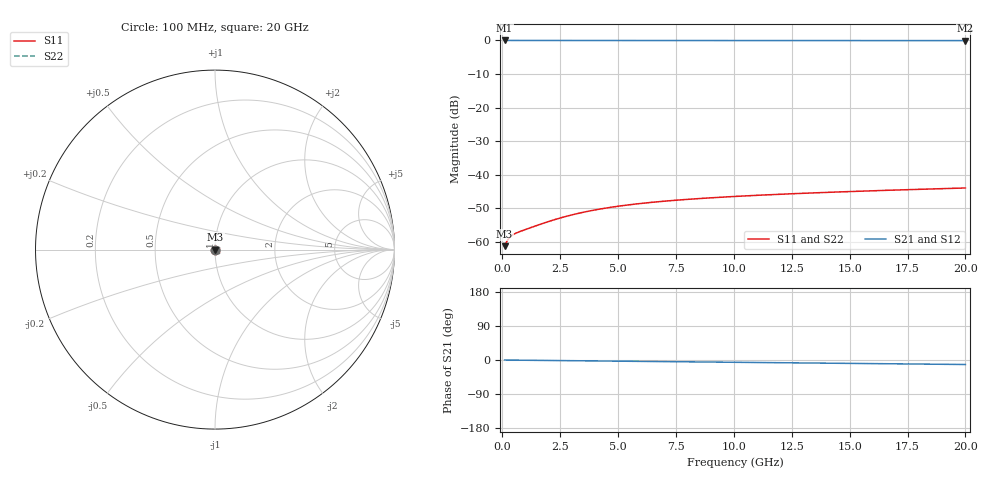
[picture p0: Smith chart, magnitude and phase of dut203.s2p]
! Touchstone file exported from HFSS 2026.1.0
!  File:  C:/ffzhzh/LocalFiles/Ansys_Project_Files/temp_train_BSMRDL_203_1782987762_45328.aedt
!  Generated:  06:23:50 PM Jul  2, 2026
!  Design:  BSMRDL
!  Project:  temp_train_BSMRDL_203_1782987762_45328
! Variables:
!  h_bsmrdl = 4.81um
!  h_ox = 20um
!  h_rdl = 5um
!  h_sub = 80um
!  h_tmrdl = 5um
!  h_tsv = 80um
!  h_via = 3um
!  l_bsmrdl = 202.3um
!  l_sub = 602.3um
!  l_tmrdl = 200um
!  m_sub = 200um
!  pitch = 28.9um
!  r_tsv = 6um
!  s_tmrdl = 10um
!  w_bsmrdl = 24um
!  w_sub = 500um
!  w_tmrdl = 12um
!  x_tsv_center1 = 206um
!  x_tsv_center2 = 432.3um
!  x_tsv_center3 = 644.3um
!  x_tsv_center4 = 870.6um
!  x_tsv_center5 = 1082.6um
!  x_tsv_center6 = 1308.9um
# GHz S MA R 50.000000
! Terminal data exported
! Port[1] = BSM_RDL1_1_T1
! Port[2] = BSM_RDL1_1_T2
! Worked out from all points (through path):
!   200 points, 100 MHz to 20 GHz, reference 50 ohm
!   highest |S21| = -0.01 dB at 100 MHz (marker M1); lowest = -0.1 dB at 20 GHz (marker M2)
!   group delay of S21, straight-line fit = 1.64 ps
!   lowest |S11| = -61.3 dB at 100 MHz (marker M3), VSWR 1.00, Z = 50.1 + j0.0228 ohm
!   |S11| at or under -10 dB: start of sweep to end of sweep
!   |S22| runs from -61.3 to -43.9 dB; largest |S21 - S12| = 3.1e-15
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0.1  0.0008605 15.4  0.9992 -0.1  0.9992 -0.1  0.0008605 15.4
! Gamma 0 0 0 0
! Port Impedance 50 0 50 0
0.2  0.001021 21.0  0.999 -0.1  0.999 -0.1  0.001021 21.0
0.3  0.001147 22.4  0.9989 -0.2  0.9989 -0.2  0.001147 22.4
0.4  0.001234 22.8  0.9989 -0.3  0.9989 -0.3  0.001234 22.8
0.5  0.001297 23.4  0.9988 -0.3  0.9988 -0.3  0.001297 23.4
0.6  0.001349 24.1  0.9988 -0.4  0.9988 -0.4  0.001349 24.1
0.8  0.001438 25.9  0.9987 -0.5  0.9987 -0.5  0.001438 25.9
1.4  0.001706 31.7  0.9986 -0.9  0.9986 -0.9  0.001706 31.7
1.8  0.001903 34.3  0.9984 -1.1  0.9984 -1.1  0.001903 34.3
2.2  0.002108 35.9  0.9983 -1.4  0.9983 -1.4  0.002108 35.9
2.8  0.002415 36.7  0.9981 -1.7  0.9981 -1.7  0.002415 36.7
3.5  0.002755 36.3  0.9978 -2.2  0.9978 -2.2  0.002756 36.3
4.2  0.003067 35.1  0.9976 -2.6  0.9976 -2.6  0.003068 35.1
5  0.003386 33.2  0.9973 -3.1  0.9973 -3.1  0.003387 33.2
5.8  0.003666 31.1  0.997 -3.5  0.997 -3.5  0.003668 31.1
6.8  0.003972 28.4  0.9966 -4.1  0.9966 -4.1  0.003974 28.4
8.3  0.004361 24.6  0.9962 -5.0  0.9962 -5.0  0.004363 24.6
10.1  0.004751 20.4  0.9957 -6.1  0.9957 -6.1  0.004755 20.4
11.6  0.005036 17.1  0.9954 -7.0  0.9954 -7.0  0.005042 17.1
13.4  0.005347 13.4  0.995 -8.0  0.995 -8.0  0.005355 13.4
16.7  0.005862 7.0  0.9944 -9.9  0.9944 -9.9  0.005874 6.9
20  0.006333 0.9  0.9938 -11.9  0.9938 -11.9  0.00635 0.9
